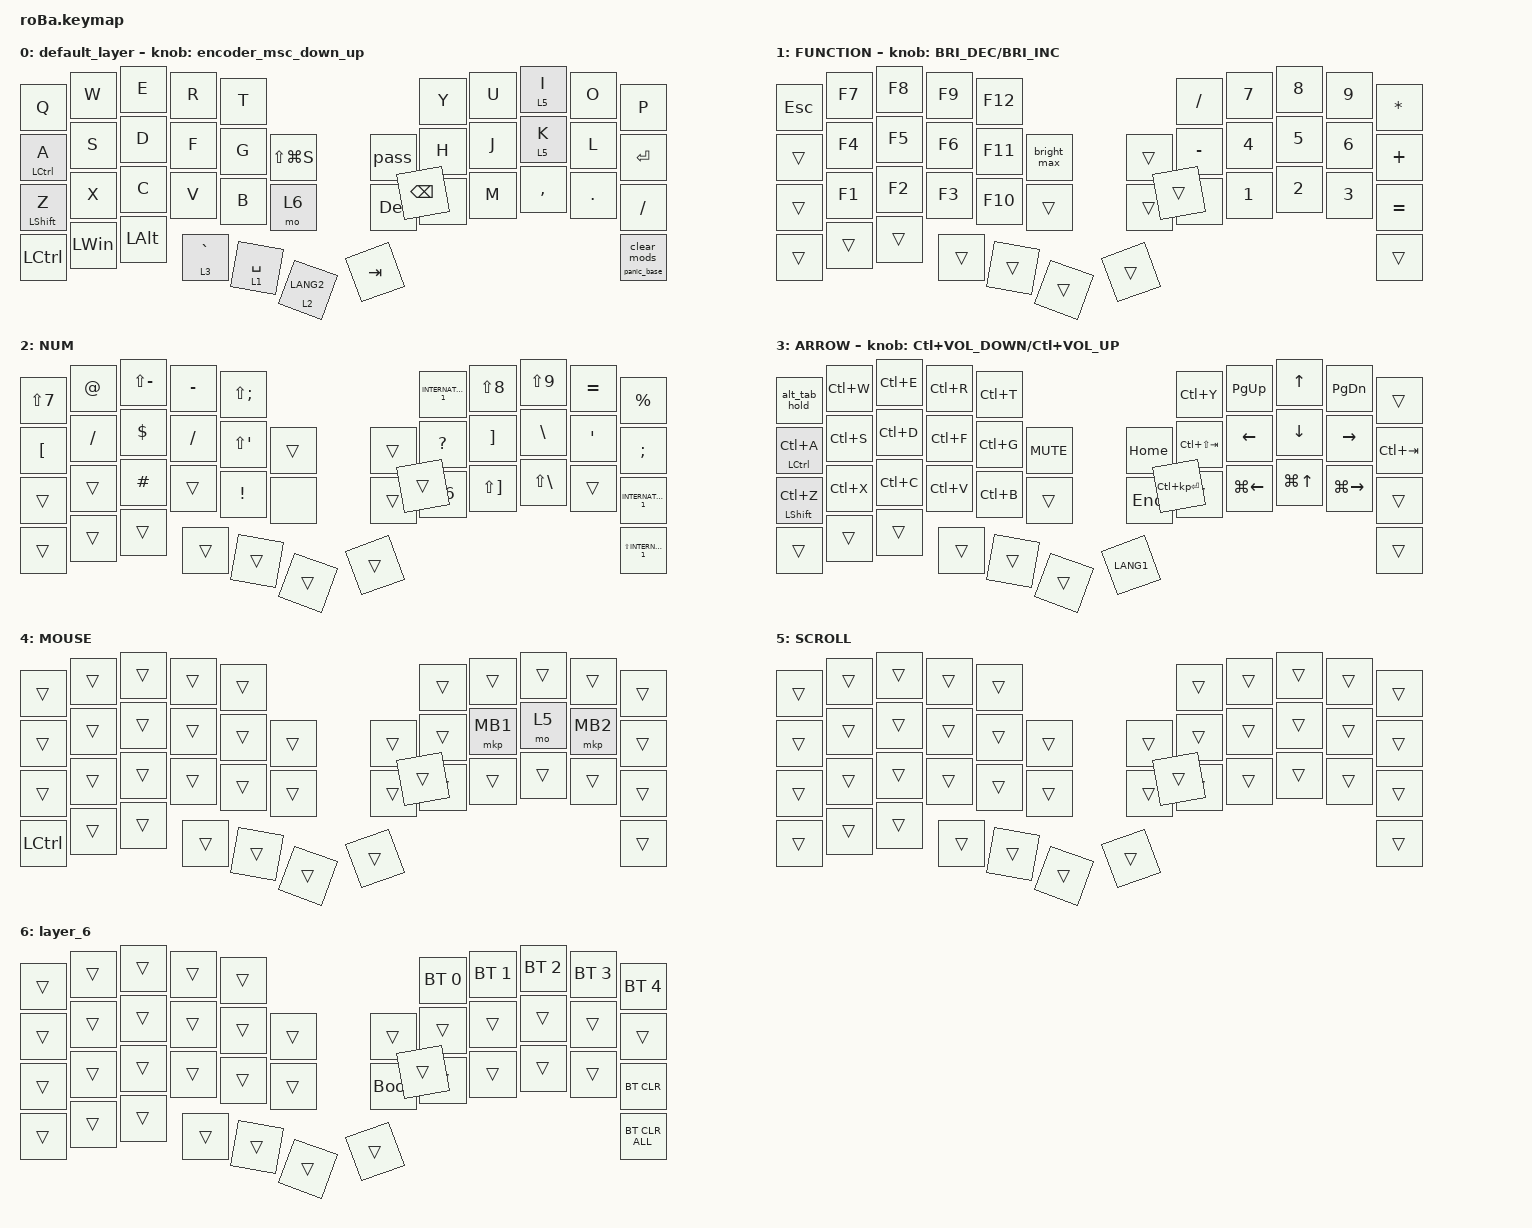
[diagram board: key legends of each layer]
#define ZMK_POINTING_DEFAULT_SCRL_VAL 80
#define AML 4

#include <input/processors.dtsi>
#include <behaviors.dtsi>
#include <dt-bindings/zmk/bt.h>
#include <dt-bindings/zmk/keys.h>
#include <dt-bindings/zmk/pointing.h>

&mt {
    flavor = "balanced";
    quick-tap-ms = <0>;
};

&trackball { scroll-layers = <5>; };

/ {
    combos {
        compatible = "zmk,combos";

        tab {
            bindings = <&kp TAB>;
            key-positions = <11 12>;
        };

        shift_tab {
            bindings = <&kp LS(TAB)>;
            key-positions = <10 11 12>;
        };

        tab2 {
            bindings = <&kp TAB>;
            key-positions = <11 10>;
        };

        double_quotation {
            bindings = <&kp DOUBLE_QUOTES>;
            key-positions = <20 21>;
        };

        eq {
            bindings = <&kp EQUAL>;
            key-positions = <24 25>;
        };

        k- {
            bindings = <&kp MINUS>;
            key-positions = <18 19>;
        };

        ques {
            bindings = <&kp QUESTION>;
            key-positions = <19 20>;
        };

        exclamation {
            bindings = <&kp EXCLAMATION>;
            key-positions = <31 32>;
        };

        atmark {
            bindings = <&kp LBKT>;
            key-positions = <8 9>;
        };

        esc {
            bindings = <&kp ESC>;
            key-positions = <0 1>;
        };

        kakko {
            bindings = <&kakko>;
            key-positions = <6 7>;
        };

        alt4 {
            bindings = <&kp LA(F4)>;
            key-positions = <0 1 2>;
        };

        return {
            bindings = <&kp LA(LEFT)>;
            key-positions = <18 19 20>;
        };

        ahead {
            bindings = <&kp LA(RIGHT)>;
            key-positions = <19 20 21>;
        };

        under_score {
            bindings = <&kp LS(INTERNATIONAL_1)>;
            key-positions = <33 32>;
        };

        esc_right {
            bindings = <&kp ESC>;
            key-positions = <18 19 20 21>;
        };

        sftz {
            bindings = <&kp LS(Z)>;
            key-positions = <22 23>;
        };

        kara {
            bindings = <&kp RS(EQUAL)>;
            key-positions = <8 7>;
        };

        shift-tab2 {
            bindings = <&kp LS(TAB)>;
            key-positions = <11 13 12>;
        };
    };

    macros {
        to_layer_0: to_layer_0 {
            compatible = "zmk,behavior-macro-one-param";
            #binding-cells = <1>;
            bindings = <&to 0 &macro_param_1to1 &kp MACRO_PLACEHOLDER>;
            label = "TO_LAYER_0";
        };

        pass: pass {
            compatible = "zmk,behavior-macro";
            #binding-cells = <0>;
            bindings = <&kp LS(H) &kp N1 &kp Q &kp A &kp Z &kp N1 &kp Q &kp A &kp Z>;
            label = "PASS";
        };

        kakko: kakko {
            compatible = "zmk,behavior-macro";
            #binding-cells = <0>;
            bindings = <&kp LS(N8) &kp LS(N9) &kp LEFT_ARROW>;
            label = "KAKKO";
        };

        exit_AML: exit_AML {
            compatible = "zmk,behavior-macro";
            wait-ms = <0>;
            tap-ms = <0>;
            #binding-cells = <0>;
            bindings = <&tog_off AML>;
            label = "EXIT_AML";
        };

        kp_exit_AML: kp_exit_AML {
            compatible = "zmk,behavior-macro-one-param";
            wait-ms = <0>;
            tap-ms = <0>;
            #binding-cells = <1>;
            bindings = <&macro_param_1to1 &kp MACRO_PLACEHOLDER &exit_AML>;
            label = "KP_EXIT_AML";
        };

        clear_mods: clear_mods {
            compatible = "zmk,behavior-macro";
            #binding-cells = <0>;
            wait-ms = <0>;
            tap-ms = <0>;
            bindings = <&kp LCTRL &kp LSHIFT &kp LALT &kp LGUI>;
            label = "CLEAR_MODS";
        };

        panic_base: panic_base {
            compatible = "zmk,behavior-macro";
            #binding-cells = <0>;
            wait-ms = <0>;
            tap-ms = <0>;
            bindings = <&to 0>;
            label = "PANIC_BASE";
        };

        //arrowlayerでのalt+tab実現

        alt_tab_hold: alt_tab_hold {
            compatible = "zmk,behavior-macro";
            #binding-cells = <0>;
            wait-ms = <0>;
            tap-ms = <0>;
            bindings =
                <&macro_press>,
                <&kp LALT>,
                <&macro_tap>,
                <&kp TAB>,
                <&macro_pause_for_release>,
                <&macro_release>,
                <&kp LALT>;

            label = "ALT_TAB_HOLD";
        };

        bright_max: bright_max {
            compatible = "zmk,behavior-macro";
            #binding-cells = <0>;
            wait-ms = <0>;
            tap-ms = <0>;
            bindings = <&kp C_BRIGHTNESS_INC &kp C_BRIGHTNESS_INC &kp C_BRIGHTNESS_INC &kp C_BRIGHTNESS_INC &kp C_BRIGHTNESS_INC &kp C_BRIGHTNESS_INC &kp C_BRIGHTNESS_INC &kp C_BRIGHTNESS_INC &kp C_BRIGHTNESS_INC &kp C_BRIGHTNESS_INC &kp C_BRIGHTNESS_INC &kp C_BRIGHTNESS_INC &kp C_BRIGHTNESS_INC &kp C_BRIGHTNESS_INC &kp C_BRIGHTNESS_INC &kp C_BRIGHTNESS_INC &kp C_BRIGHTNESS_INC &kp C_BRIGHTNESS_INC &kp C_BRIGHTNESS_INC &kp C_BRIGHTNESS_INC &kp C_BRIGHTNESS_INC &kp C_BRIGHTNESS_INC &kp C_BRIGHTNESS_INC &kp C_BRIGHTNESS_INC &kp C_BRIGHTNESS_INC &kp C_BRIGHTNESS_INC &kp C_BRIGHTNESS_INC &kp C_BRIGHTNESS_INC &kp C_BRIGHTNESS_INC &kp C_BRIGHTNESS_INC &kp C_BRIGHTNESS_INC &kp C_BRIGHTNESS_INC &kp C_BRIGHTNESS_INC &kp C_BRIGHTNESS_INC &kp C_BRIGHTNESS_INC &kp C_BRIGHTNESS_INC &kp C_BRIGHTNESS_INC &kp C_BRIGHTNESS_INC &kp C_BRIGHTNESS_INC &kp C_BRIGHTNESS_INC>;
            label = "BRIGHT_MAX";
        };
    };

    behaviors {
        lt_to_layer_0: lt_to_layer_0 {
            compatible = "zmk,behavior-hold-tap";
            label = "LAYER_TAP_TO_0";
            bindings = <&mo>, <&to_layer_0>;

            #binding-cells = <2>;
            tapping-term-ms = <200>;
        };

        encoder_msc_down_up: encoder_msc_down_up {
            compatible = "zmk,behavior-sensor-rotate";
            label = "ENCODER_MSC_DOWN_UP";
            #sensor-binding-cells = <0>;
            bindings = <&msc SCRL_DOWN>, <&msc SCRL_UP>;

            tap-ms = <20>;
        };

        tog_off: toggle_layer_off {
            compatible = "zmk,behavior-toggle-layer";
            #binding-cells = <1>;
            toggle-mode = "off";
        };

        mt_exit_AML_on_tap: mt_exit_AML_on_tap {
            compatible = "zmk,behavior-hold-tap";
            label = "MT_EXIT_AML_ON_TAP";
            bindings = <&kp>, <&kp_exit_AML>;

            #binding-cells = <2>;
            tapping-term-ms = <200>;
            flavor = "balanced";
            quick-tap-ms = <200>;
        };

        clear_on_tap_panic_on_hold: clear_on_tap_panic_on_hold {
            compatible = "zmk,behavior-hold-tap";
            label = "CLR_TAP_PANIC_HOLD";
            #binding-cells = <2>;

            /* 先がホールド、後がタップ */

            bindings = <&panic_base>, <&clear_mods>;

            tapping-term-ms = <200>;
            flavor = "balanced";
            quick-tap-ms = <0>;
        };

        mt_exit_aml_tp170: mt_exit_aml_tp170 {
            compatible = "zmk,behavior-hold-tap";
            label = "MT_EXIT_AML_TP170";

            /* hold時は普通の &kp、tap時は &kp_exit_AML（＝タップしたらAML解除） */

            bindings = <&kp>, <&kp_exit_AML>;

            #binding-cells = <2>;
            flavor = "tap-preferred";
            tapping-term-ms = <260>;
            quick-tap-ms = <0>;
        };

        mt_exit_aml_Z: mt_exit_aml_Z {
            compatible = "zmk,behavior-hold-tap";
            label = "MT_EXIT_AML_Z";
            bindings = <&kp>, <&kp_exit_AML>;

            #binding-cells = <2>;
            flavor = "tap-preferred";
            tapping-term-ms = <170>;
            quick-tap-ms = <0>;
        };
    };

    keymap {
        compatible = "zmk,keymap";

        default_layer {
            bindings = <
&kp Q                        &kp W         &kp E         &kp R                   &kp T                                             &kp Y          &kp U  &lt 5 I    &kp O    &kp P
&mt_exit_aml_tp170 LCTRL A   &kp S         &kp D         &kp F                   &kp G        &kp LS(LG(S))               &pass    &kp H          &kp J  &lt 5 K    &kp L    &kp ENTER
&mt_exit_aml_Z LEFT_SHIFT Z  &kp X         &kp C         &kp V                   &kp B        &mo 6                       &kp DEL  &kp N          &kp M  &kp COMMA  &kp DOT  &kp SLASH
&kp LCTRL                    &kp LEFT_WIN  &kp LEFT_ALT  &lt_to_layer_0 3 GRAVE  &lt 1 SPACE  &lt_to_layer_0 2 LANG2      &kp TAB  &kp BACKSPACE                             &clear_on_tap_panic_on_hold 0 0
            >;

            sensor-bindings = <&encoder_msc_down_up>;
        };

        FUNCTION {
            bindings = <
&kp ESC  &kp F7  &kp F8  &kp F9  &kp F12                           &kp SLASH  &kp N7        &kp N8        &kp N9        &kp ASTRK
&trans   &kp F4  &kp F5  &kp F6  &kp F11  &bright_max      &trans  &kp MINUS  &kp NUMBER_4  &kp N5        &kp NUMBER_6  &kp PLUS
&trans   &kp F1  &kp F2  &kp F3  &kp F10  &trans           &trans  &kp N0     &kp NUMBER_1  &kp NUMBER_2  &kp NUMBER_3  &kp EQUAL
&trans   &trans  &trans  &trans  &trans   &trans           &trans  &trans                                               &trans
            >;

            sensor-bindings = <&inc_dec_kp C_BRIGHTNESS_DEC C_BRIGHTNESS_INC>;
        };

        NUM {
            bindings = <
&kp LS(N7)  &kp AT     &kp LS(MINUS)  &kp MINUS  &kp LS(SEMICOLON)                      &kp INTERNATIONAL_1  &kp LS(NUMBER_8)  &kp LS(N9)         &kp EQUAL  &kp PERCENT
&kp LBKT    &kp SLASH  &kp DOLLAR     &kp SLASH  &kp LS(SQT)        &trans      &trans  &kp QUESTION         &kp RBKT          &kp BACKSLASH      &kp SQT    &kp SEMICOLON
&trans      &trans     &kp HASH       &trans     &kp EXCL           &none       &trans  &kp LS(N6)           &kp LS(RBKT)      &kp LS(BACKSLASH)  &trans     &kp INTERNATIONAL_1
&trans      &trans     &trans         &trans     &trans             &trans      &trans  &trans                                                               &kp LS(INTERNATIONAL_1)
            >;
        };

        ARROW {
            bindings = <
&alt_tab_hold           &kp LC(W)  &kp LC(E)  &kp LC(R)  &kp LC(T)                             &kp LC(Y)         &kp PAGE_UP     &kp UP_ARROW      &kp PAGE_DOWN  &trans
&mt LEFT_CONTROL LC(A)  &kp LC(S)  &kp LC(D)  &kp LC(F)  &kp LC(G)  &kp C_MUTE      &kp HOME   &kp LC(LS(TAB))   &kp LEFT_ARROW  &kp DOWN_ARROW    &kp RIGHT      &kp LC(TAB)
&mt LEFT_SHIFT LC(Z)    &kp LC(X)  &kp LC(C)  &kp LC(V)  &kp LC(B)  &trans          &kp END    &trans            &kp LG(LEFT)    &kp LG(UP_ARROW)  &kp LG(RIGHT)  &trans
&trans                  &trans     &trans     &trans     &trans     &trans          &kp LANG1  &kp LC(KP_ENTER)                                                   &trans
            >;

            sensor-bindings = <&inc_dec_kp LC(C_VOLUME_DOWN) LC(C_VOLUME_UP)>;
        };

        MOUSE {
            bindings = <
&trans     &trans  &trans  &trans  &trans                      &trans  &trans    &trans  &trans    &trans
&trans     &trans  &trans  &trans  &trans  &trans      &trans  &trans  &mkp MB1  &mo 5   &mkp MB2  &trans
&trans     &trans  &trans  &trans  &trans  &trans      &trans  &trans  &trans    &trans  &trans    &trans
&kp LCTRL  &trans  &trans  &trans  &trans  &trans      &trans  &trans                              &trans
            >;
        };

        SCROLL {
            bindings = <
&trans  &trans  &trans  &trans  &trans                      &trans  &trans  &trans  &trans  &trans
&trans  &trans  &trans  &trans  &trans  &trans      &trans  &trans  &trans  &trans  &trans  &trans
&trans  &trans  &trans  &trans  &trans  &trans      &trans  &trans  &trans  &trans  &trans  &trans
&trans  &trans  &trans  &trans  &trans  &trans      &trans  &trans                          &trans
            >;
        };

        layer_6 {
            bindings = <
&trans  &trans  &trans  &trans  &trans                           &bt BT_SEL 0  &bt BT_SEL 1  &bt BT_SEL 2  &bt BT_SEL 3  &bt BT_SEL 4
&trans  &trans  &trans  &trans  &trans  &trans      &trans       &trans        &trans        &trans        &trans        &trans
&trans  &trans  &trans  &trans  &trans  &trans      &bootloader  &trans        &trans        &trans        &trans        &bt BT_CLR
&trans  &trans  &trans  &trans  &trans  &trans      &trans       &trans                                                  &bt BT_CLR_ALL
            >;
        };
    };
};

/* クリックで少し延長 */

&mkp_input_listener { input-processors = <&zip_temp_layer 4 10000>; };
